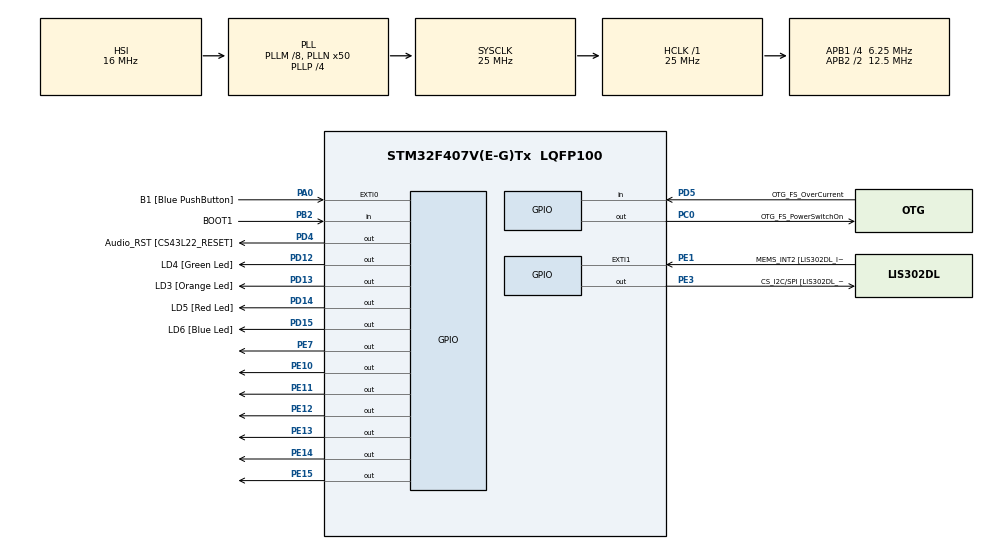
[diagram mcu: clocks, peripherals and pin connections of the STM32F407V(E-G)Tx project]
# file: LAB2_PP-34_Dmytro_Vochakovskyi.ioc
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Mcu.Family=STM32F4
Mcu.Name=STM32F407V(E-G)Tx
Mcu.Package=LQFP100
NVIC.PriorityGroup=NVIC_PRIORITYGROUP_0
PA0-WKUP.GPIO_Label=B1 [Blue PushButton]
PA0-WKUP.Signal=GPXTI0
PA10.GPIO_Label=OTG_FS_ID
PA10.GPIO_Mode=GPIO_MODE_AF_PP
PA10.GPIO_PuPd=GPIO_NOPULL
PA10.GPIO_Speed=GPIO_SPEED_FREQ_LOW
PA10.Signal=USB_OTG_FS_ID
PA11.GPIO_Label=OTG_FS_DM
PA11.GPIO_Mode=GPIO_MODE_AF_PP
PA11.GPIO_PuPd=GPIO_NOPULL
PA11.GPIO_Speed=GPIO_SPEED_FREQ_LOW
PA11.Signal=USB_OTG_FS_DM
PA12.GPIO_Label=OTG_FS_DP
PA12.GPIO_Mode=GPIO_MODE_AF_PP
PA12.GPIO_PuPd=GPIO_NOPULL
PA12.GPIO_Speed=GPIO_SPEED_FREQ_LOW
PA12.Signal=USB_OTG_FS_DP
PA13.GPIO_Label=SWDIO
PA13.Signal=SYS_JTMS-SWDIO
PA14.GPIO_Label=SWCLK
PA14.Signal=SYS_JTCK-SWCLK
PA4.GPIO_Label=I2S3_WS [CS43L22_LRCK]
PA4.GPIO_Mode=GPIO_MODE_AF_PP
PA4.GPIO_PuPd=GPIO_NOPULL
PA4.GPIO_Speed=GPIO_SPEED_FREQ_LOW
PA4.Signal=I2S3_WS
PA5.GPIO_Label=SPI1_SCK [LIS302DL_SCL/SPC]
PA5.GPIO_Mode=GPIO_MODE_AF_PP
PA5.GPIO_PuPd=GPIO_NOPULL
PA5.GPIO_Speed=GPIO_SPEED_FREQ_LOW
PA5.Signal=SPI1_SCK
PA6.GPIO_Label=SPI1_MISO [LIS302DL_SDO]
PA6.GPIO_Mode=GPIO_MODE_AF_PP
PA6.GPIO_PuPd=GPIO_NOPULL
PA6.GPIO_Speed=GPIO_SPEED_FREQ_LOW
PA6.Signal=SPI1_MISO
PA7.GPIO_Label=SPI1_MOSI [LIS302DL_SDA/SDI/SDO]
PA7.GPIO_Mode=GPIO_MODE_AF_PP
PA7.GPIO_PuPd=GPIO_NOPULL
PA7.GPIO_Speed=GPIO_SPEED_FREQ_LOW
PA7.Signal=SPI1_MOSI
PA9.GPIO_Label=VBUS_FS
PA9.GPIO_Mode=GPIO_MODE_INPUT
PA9.GPIO_PuPd=GPIO_NOPULL
PA9.Signal=USB_OTG_FS_VBUS
PB10.GPIO_Label=CLK_IN [MP45DT02_CLK]
PB10.GPIO_Mode=GPIO_MODE_AF_PP
PB10.GPIO_PuPd=GPIO_NOPULL
PB10.GPIO_Speed=GPIO_SPEED_FREQ_LOW
PB10.Signal=I2S2_CK
PB2.GPIO_Label=BOOT1
PB2.GPIO_Mode=GPIO_MODE_INPUT
PB2.GPIO_PuPd=GPIO_NOPULL
PB2.Signal=GPIO_Input
PB3.GPIO_Label=SWO
PB3.Signal=SYS_JTDO-SWO
PB6.GPIO_Label=Audio_SCL [CS43L22_SCL]
PB6.GPIO_Mode=GPIO_MODE_AF_OD
PB6.GPIO_PuPd=GPIO_NOPULL
PB6.GPIO_Speed=GPIO_SPEED_FREQ_LOW
PB6.Signal=I2C1_SCL
PB9.GPIO_Label=Audio_SDA [CS43L22_SDA]
PB9.GPIO_Mode=GPIO_MODE_AF_OD
PB9.GPIO_PuPd=GPIO_NOPULL
PB9.GPIO_Speed=GPIO_SPEED_FREQ_LOW
PB9.Signal=I2C1_SDA
PC0.GPIO_Label=OTG_FS_PowerSwitchOn
PC0.GPIO_PuPd=GPIO_NOPULL
PC0.GPIO_Speed=GPIO_SPEED_FREQ_LOW
PC0.PinState=GPIO_PIN_SET
PC0.Signal=GPIO_Output
PC10.GPIO_Label=I2S3_SCK [CS43L22_SCLK]
PC10.GPIO_Mode=GPIO_MODE_AF_PP
PC10.GPIO_PuPd=GPIO_NOPULL
PC10.GPIO_Speed=GPIO_SPEED_FREQ_LOW
PC10.Signal=I2S3_CK
PC12.GPIO_Label=I2S3_SD [CS43L22_SDIN]
PC12.GPIO_Mode=GPIO_MODE_AF_PP
PC12.GPIO_PuPd=GPIO_NOPULL
PC12.GPIO_Speed=GPIO_SPEED_FREQ_LOW
PC12.Signal=I2S3_SD
PC14-OSC32_IN.GPIO_Label=PC14-OSC32_IN
PC14-OSC32_IN.Signal=RCC_OSC32_IN
PC15-OSC32_OUT.GPIO_Label=PC15-OSC32_OUT
PC15-OSC32_OUT.Signal=RCC_OSC32_OUT
PC3.GPIO_Label=PDM_OUT [MP45DT02_DOUT]
PC3.GPIO_Mode=GPIO_MODE_AF_PP
PC3.GPIO_PuPd=GPIO_NOPULL
PC3.GPIO_Speed=GPIO_SPEED_FREQ_LOW
PC3.Signal=I2S2_SD
PC7.GPIO_Label=I2S3_MCK [CS43L22_MCLK]
PC7.GPIO_Mode=GPIO_MODE_AF_PP
PC7.GPIO_PuPd=GPIO_NOPULL
PC7.GPIO_Speed=GPIO_SPEED_FREQ_LOW
PC7.Signal=I2S3_MCK
PD12.GPIO_Label=LD4 [Green Led]
PD12.GPIO_PuPd=GPIO_NOPULL
PD12.GPIO_Speed=GPIO_SPEED_FREQ_LOW
PD12.Signal=GPIO_Output
PD13.GPIO_Label=LD3 [Orange Led]
PD13.GPIO_PuPd=GPIO_NOPULL
PD13.GPIO_Speed=GPIO_SPEED_FREQ_LOW
PD13.Signal=GPIO_Output
PD14.GPIO_Label=LD5 [Red Led]
PD14.GPIO_PuPd=GPIO_NOPULL
PD14.GPIO_Speed=GPIO_SPEED_FREQ_LOW
PD14.Signal=GPIO_Output
PD15.GPIO_Label=LD6 [Blue Led]
PD15.GPIO_PuPd=GPIO_NOPULL
PD15.GPIO_Speed=GPIO_SPEED_FREQ_LOW
PD15.Signal=GPIO_Output
PD4.GPIO_Label=Audio_RST [CS43L22_RESET]
PD4.GPIO_PuPd=GPIO_NOPULL
PD4.GPIO_Speed=GPIO_SPEED_FREQ_LOW
PD4.Signal=GPIO_Output
PD5.GPIO_Label=OTG_FS_OverCurrent
PD5.GPIO_Mode=GPIO_MODE_INPUT
PD5.GPIO_PuPd=GPIO_NOPULL
PD5.Signal=GPIO_Input
PE1.GPIO_Label=MEMS_INT2 [LIS302DL_INT2]
PE1.GPIO_ModeDefaultEXTI=GPIO_MODE_EVT_RISING
PE1.GPIO_PuPd=GPIO_NOPULL
PE1.Signal=GPXTI1
PE10.Signal=GPIO_Output
PE11.Signal=GPIO_Output
PE12.Signal=GPIO_Output
PE13.Signal=GPIO_Output
PE14.Signal=GPIO_Output
PE15.Signal=GPIO_Output
PE3.GPIO_Label=CS_I2C/SPI [LIS302DL_CS_I2C/SPI]
PE3.GPIO_PuPd=GPIO_NOPULL
PE3.GPIO_Speed=GPIO_SPEED_FREQ_LOW
PE3.Signal=GPIO_Output
PE7.Signal=GPIO_Output
PH0-OSC_IN.GPIO_Label=PH0-OSC_IN
PH0-OSC_IN.Signal=RCC_OSC_IN
PH1-OSC_OUT.GPIO_Label=PH1-OSC_OUT
PH1-OSC_OUT.Signal=RCC_OSC_OUT
ProjectManager.HeapSize=0x200
ProjectManager.StackSize=0x400
ProjectManager.TargetToolchain=STM32CubeIDE
RCC.48MHZClocksFreq_Value=14285714.285714285
RCC.AHBFreq_Value=25000000
RCC.APB1CLKDivider=RCC_HCLK_DIV4
RCC.APB1Freq_Value=6250000
RCC.APB1TimFreq_Value=12500000
RCC.APB2CLKDivider=RCC_HCLK_DIV2
RCC.APB2Freq_Value=12500000
RCC.APB2TimFreq_Value=25000000
RCC.CortexFreq_Value=25000000
RCC.HCLKFreq_Value=25000000
RCC.HSE_VALUE=8000000
RCC.HSI_VALUE=16000000
RCC.LSE_VALUE=32768
RCC.PLLM=8
RCC.PLLN=50
RCC.PLLP=RCC_PLLP_DIV4
RCC.PLLQ=7
RCC.SYSCLKFreq_VALUE=25000000
RCC.SYSCLKSource=RCC_SYSCLKSOURCE_PLLCLK
RCC.VCOOutputFreq_Value=100000000
board=STM32F407G-DISC1

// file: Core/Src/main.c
/* USER CODE BEGIN Header */
/**
  ******************************************************************************
  * @file           : main.c
  * @brief          : Main program body
  ******************************************************************************
  * @attention
  *
  * Copyright (c) 2024 STMicroelectronics.
  * All rights reserved.
  *
  * This software is licensed under terms that can be found in the LICENSE file
  * in the root directory of this software component.
  * If no LICENSE file comes with this software, it is provided AS-IS.
  *
  ******************************************************************************
  */
/* USER CODE END Header */
#include "main.h"
#include <string.h>
#include "LCD.h"

void SystemClock_Config(void);
static void MX_GPIO_Init(void);

int main(void)
{

  /* MCU Configuration--------------------------------------------------------*/

  /* Reset of all peripherals, Initializes the Flash interface and the Systick. */
  HAL_Init();

  /* Configure the system clock */
  SystemClock_Config();

  /* Initialize all configured peripherals */
  MX_GPIO_Init();
  /* USER CODE BEGIN 2 */
  char* authors[] = {
      "Dmytro Vochakovskyi",
      "Daniil Herasymenko",
      "Nazar Pyrtko",
	  "authors"
  };

  int index = 			0;
  int prevClick = 		0;
  int currClick = 		0;
  int numOfAuthors = 	sizeof(authors) / sizeof(authors[0]);

  void LCD_function() {
      LCD_Clear();
      if (index < numOfAuthors) {
          LCD_SendString(authors[index], strlen(authors[index]));
          HAL_Delay(300);
          index++;
      } else {
          index = 0;
      }
      prevClick = currClick;
  }

  LCD_Init();
  HAL_Delay(500);
  LCD_Clear();
  LCD_SendString("authors", 7);

  /* USER CODE END 2 */

  /* Infinite loop */
  /* USER CODE BEGIN WHILE */
  while (1) {

	  if (HAL_GPIO_ReadPin(GPIOA, GPIO_PIN_0) == GPIO_PIN_SET){
	  		currClick = HAL_GetTick();
	  		if (currClick - prevClick > 100) {
	  			LCD_function();
	  		}
	  }
  }
  /* USER CODE END WHILE */
}

void SystemClock_Config(void)
{
  RCC_OscInitTypeDef RCC_OscInitStruct = {0};
  RCC_ClkInitTypeDef RCC_ClkInitStruct = {0};

  /** Configure the main internal regulator output voltage
  */
  __HAL_RCC_PWR_CLK_ENABLE();
  __HAL_PWR_VOLTAGESCALING_CONFIG(PWR_REGULATOR_VOLTAGE_SCALE1);

  /** Initializes the RCC Oscillators according to the specified parameters
  * in the RCC_OscInitTypeDef structure.
  */
  RCC_OscInitStruct.OscillatorType = RCC_OSCILLATORTYPE_HSI;
  RCC_OscInitStruct.HSIState = RCC_HSI_ON;
  RCC_OscInitStruct.HSICalibrationValue = RCC_HSICALIBRATION_DEFAULT;
  RCC_OscInitStruct.PLL.PLLState = RCC_PLL_ON;
  RCC_OscInitStruct.PLL.PLLSource = RCC_PLLSOURCE_HSI;
  RCC_OscInitStruct.PLL.PLLM = 8;
  RCC_OscInitStruct.PLL.PLLN = 50;
  RCC_OscInitStruct.PLL.PLLP = RCC_PLLP_DIV4;
  RCC_OscInitStruct.PLL.PLLQ = 7;
  if (HAL_RCC_OscConfig(&RCC_OscInitStruct) != HAL_OK)
  {
    Error_Handler();
  }

  /** Initializes the CPU, AHB and APB buses clocks
  */
  RCC_ClkInitStruct.ClockType = RCC_CLOCKTYPE_HCLK|RCC_CLOCKTYPE_SYSCLK
                              |RCC_CLOCKTYPE_PCLK1|RCC_CLOCKTYPE_PCLK2;
  RCC_ClkInitStruct.SYSCLKSource = RCC_SYSCLKSOURCE_PLLCLK;
  RCC_ClkInitStruct.AHBCLKDivider = RCC_SYSCLK_DIV1;
  RCC_ClkInitStruct.APB1CLKDivider = RCC_HCLK_DIV4;
  RCC_ClkInitStruct.APB2CLKDivider = RCC_HCLK_DIV2;

  if (HAL_RCC_ClockConfig(&RCC_ClkInitStruct, FLASH_LATENCY_0) != HAL_OK)
  {
    Error_Handler();
  }
}

static void MX_GPIO_Init(void)
{
  GPIO_InitTypeDef GPIO_InitStruct = {0};

  /* GPIO Ports Clock Enable */
  __HAL_RCC_GPIOE_CLK_ENABLE();
  __HAL_RCC_GPIOC_CLK_ENABLE();
  __HAL_RCC_GPIOH_CLK_ENABLE();
  __HAL_RCC_GPIOA_CLK_ENABLE();
  __HAL_RCC_GPIOB_CLK_ENABLE();
  __HAL_RCC_GPIOD_CLK_ENABLE();

  /*Configure GPIO pin Output Level */
  HAL_GPIO_WritePin(GPIOE, CS_I2C_SPI_Pin|GPIO_PIN_7|GPIO_PIN_10|GPIO_PIN_11
                          |GPIO_PIN_12|GPIO_PIN_13|GPIO_PIN_15, GPIO_PIN_RESET);

  /*Configure GPIO pin Output Level */
  HAL_GPIO_WritePin(OTG_FS_PowerSwitchOn_GPIO_Port, OTG_FS_PowerSwitchOn_Pin, GPIO_PIN_SET);

  /*Configure GPIO pin Output Level */
  HAL_GPIO_WritePin(GPIOD, LD4_Pin|LD3_Pin|LD5_Pin|LD6_Pin
                          |Audio_RST_Pin, GPIO_PIN_RESET);

  /*Configure GPIO pins : CS_I2C_SPI_Pin PE7 PE10 PE11
                           PE12 PE13 PE15 */
  GPIO_InitStruct.Pin = CS_I2C_SPI_Pin|GPIO_PIN_7|GPIO_PIN_10|GPIO_PIN_11
                          |GPIO_PIN_12|GPIO_PIN_13|GPIO_PIN_15;
  GPIO_InitStruct.Mode = GPIO_MODE_OUTPUT_PP;
  GPIO_InitStruct.Pull = GPIO_NOPULL;
  GPIO_InitStruct.Speed = GPIO_SPEED_FREQ_LOW;
  HAL_GPIO_Init(GPIOE, &GPIO_InitStruct);

  /*Configure GPIO pin : OTG_FS_PowerSwitchOn_Pin */
  GPIO_InitStruct.Pin = OTG_FS_PowerSwitchOn_Pin;
  GPIO_InitStruct.Mode = GPIO_MODE_OUTPUT_PP;
  GPIO_InitStruct.Pull = GPIO_NOPULL;
  GPIO_InitStruct.Speed = GPIO_SPEED_FREQ_LOW;
  HAL_GPIO_Init(OTG_FS_PowerSwitchOn_GPIO_Port, &GPIO_InitStruct);

  /*Configure GPIO pin : PDM_OUT_Pin */
  GPIO_InitStruct.Pin = PDM_OUT_Pin;
  GPIO_InitStruct.Mode = GPIO_MODE_AF_PP;
  GPIO_InitStruct.Pull = GPIO_NOPULL;
  GPIO_InitStruct.Speed = GPIO_SPEED_FREQ_LOW;
  GPIO_InitStruct.Alternate = GPIO_AF5_SPI2;
  HAL_GPIO_Init(PDM_OUT_GPIO_Port, &GPIO_InitStruct);

  /*Configure GPIO pin : B1_Pin */
  GPIO_InitStruct.Pin = B1_Pin;
  GPIO_InitStruct.Mode = GPIO_MODE_IT_RISING;
  GPIO_InitStruct.Pull = GPIO_NOPULL;
  HAL_GPIO_Init(B1_GPIO_Port, &GPIO_InitStruct);

  /*Configure GPIO pin : I2S3_WS_Pin */
  GPIO_InitStruct.Pin = I2S3_WS_Pin;
  GPIO_InitStruct.Mode = GPIO_MODE_AF_PP;
  GPIO_InitStruct.Pull = GPIO_NOPULL;
  GPIO_InitStruct.Speed = GPIO_SPEED_FREQ_LOW;
  GPIO_InitStruct.Alternate = GPIO_AF6_SPI3;
  HAL_GPIO_Init(I2S3_WS_GPIO_Port, &GPIO_InitStruct);

  /*Configure GPIO pins : SPI1_SCK_Pin SPI1_MISO_Pin SPI1_MOSI_Pin */
  GPIO_InitStruct.Pin = SPI1_SCK_Pin|SPI1_MISO_Pin|SPI1_MOSI_Pin;
  GPIO_InitStruct.Mode = GPIO_MODE_AF_PP;
  GPIO_InitStruct.Pull = GPIO_NOPULL;
  GPIO_InitStruct.Speed = GPIO_SPEED_FREQ_LOW;
  GPIO_InitStruct.Alternate = GPIO_AF5_SPI1;
  HAL_GPIO_Init(GPIOA, &GPIO_InitStruct);

  /*Configure GPIO pin : BOOT1_Pin */
  GPIO_InitStruct.Pin = BOOT1_Pin;
  GPIO_InitStruct.Mode = GPIO_MODE_INPUT;
  GPIO_InitStruct.Pull = GPIO_NOPULL;
  HAL_GPIO_Init(BOOT1_GPIO_Port, &GPIO_InitStruct);

  /*Configure GPIO pin : PE14 */
  GPIO_InitStruct.Pin = GPIO_PIN_14;
  GPIO_InitStruct.Mode = GPIO_MODE_IT_RISING;
  GPIO_InitStruct.Pull = GPIO_NOPULL;
  HAL_GPIO_Init(GPIOE, &GPIO_InitStruct);

  /*Configure GPIO pin : CLK_IN_Pin */
  GPIO_InitStruct.Pin = CLK_IN_Pin;
  GPIO_InitStruct.Mode = GPIO_MODE_AF_PP;
  GPIO_InitStruct.Pull = GPIO_NOPULL;
  GPIO_InitStruct.Speed = GPIO_SPEED_FREQ_LOW;
  GPIO_InitStruct.Alternate = GPIO_AF5_SPI2;
  HAL_GPIO_Init(CLK_IN_GPIO_Port, &GPIO_InitStruct);

  /*Configure GPIO pins : LD4_Pin LD3_Pin LD5_Pin LD6_Pin
                           Audio_RST_Pin */
  GPIO_InitStruct.Pin = LD4_Pin|LD3_Pin|LD5_Pin|LD6_Pin
                          |Audio_RST_Pin;
  GPIO_InitStruct.Mode = GPIO_MODE_OUTPUT_PP;
  GPIO_InitStruct.Pull = GPIO_NOPULL;
  GPIO_InitStruct.Speed = GPIO_SPEED_FREQ_LOW;
  HAL_GPIO_Init(GPIOD, &GPIO_InitStruct);

  /*Configure GPIO pins : I2S3_MCK_Pin I2S3_SCK_Pin I2S3_SD_Pin */
  GPIO_InitStruct.Pin = I2S3_MCK_Pin|I2S3_SCK_Pin|I2S3_SD_Pin;
  GPIO_InitStruct.Mode = GPIO_MODE_AF_PP;
  GPIO_InitStruct.Pull = GPIO_NOPULL;
  GPIO_InitStruct.Speed = GPIO_SPEED_FREQ_LOW;
  GPIO_InitStruct.Alternate = GPIO_AF6_SPI3;
  HAL_GPIO_Init(GPIOC, &GPIO_InitStruct);

  /*Configure GPIO pin : VBUS_FS_Pin */
  GPIO_InitStruct.Pin = VBUS_FS_Pin;
  GPIO_InitStruct.Mode = GPIO_MODE_INPUT;
  GPIO_InitStruct.Pull = GPIO_NOPULL;
  HAL_GPIO_Init(VBUS_FS_GPIO_Port, &GPIO_InitStruct);

  /*Configure GPIO pins : OTG_FS_ID_Pin OTG_FS_DM_Pin OTG_FS_DP_Pin */
  GPIO_InitStruct.Pin = OTG_FS_ID_Pin|OTG_FS_DM_Pin|OTG_FS_DP_Pin;
  GPIO_InitStruct.Mode = GPIO_MODE_AF_PP;
  GPIO_InitStruct.Pull = GPIO_NOPULL;
  GPIO_InitStruct.Speed = GPIO_SPEED_FREQ_LOW;
  GPIO_InitStruct.Alternate = GPIO_AF10_OTG_FS;
  HAL_GPIO_Init(GPIOA, &GPIO_InitStruct);

  /*Configure GPIO pin : OTG_FS_OverCurrent_Pin */
  GPIO_InitStruct.Pin = OTG_FS_OverCurrent_Pin;
  GPIO_InitStruct.Mode = GPIO_MODE_INPUT;
  GPIO_InitStruct.Pull = GPIO_NOPULL;
  HAL_GPIO_Init(OTG_FS_OverCurrent_GPIO_Port, &GPIO_InitStruct);

  /*Configure GPIO pins : Audio_SCL_Pin Audio_SDA_Pin */
  GPIO_InitStruct.Pin = Audio_SCL_Pin|Audio_SDA_Pin;
  GPIO_InitStruct.Mode = GPIO_MODE_AF_OD;
  GPIO_InitStruct.Pull = GPIO_NOPULL;
  GPIO_InitStruct.Speed = GPIO_SPEED_FREQ_LOW;
  GPIO_InitStruct.Alternate = GPIO_AF4_I2C1;
  HAL_GPIO_Init(GPIOB, &GPIO_InitStruct);

  /*Configure GPIO pin : MEMS_INT2_Pin */
  GPIO_InitStruct.Pin = MEMS_INT2_Pin;
  GPIO_InitStruct.Mode = GPIO_MODE_EVT_RISING;
  GPIO_InitStruct.Pull = GPIO_NOPULL;
  HAL_GPIO_Init(MEMS_INT2_GPIO_Port, &GPIO_InitStruct);

}

void Error_Handler(void)
{
  __disable_irq();
  while (1)
  {
  }
}
